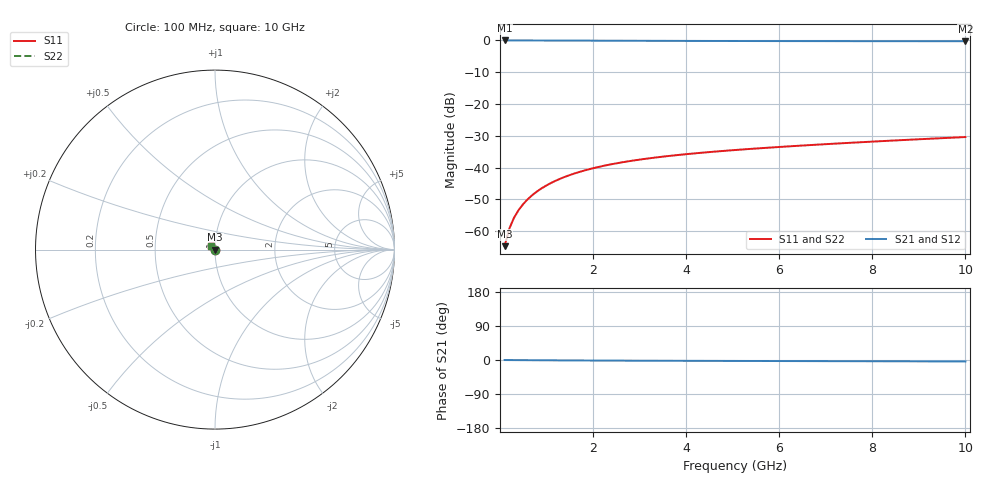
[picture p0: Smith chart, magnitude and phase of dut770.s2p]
! Touchstone file exported from HFSS 2024.1.0
!  File:  C:/UserFiles/LocalFiles/RDL_TSV_Batchsim/temp_TSV1_770_1779873332.aedt
!  Generated:  05:21:20 PM May 27, 2026
!  Design:  TSV1
!  Project:  temp_TSV1_770_1779873332
!  Setup:  Setup1
!  Solution:  Sweep
! Variables:
!  dtsv = 7.03um
!  hbump = 3um
!  htsv = 53.15um
!  lrdl = 252.1521522um
!  p = 40
!  p1 = 54.99um
!  t = 500um
!  trdl = 3um
!  wrdl = 24.89489489um
# GHz S MA R 50.000000
! Terminal data exported
! Port[1] = TSV22_T1
! Port[2] = TSV22_T2
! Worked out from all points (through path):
!   100 points, 100 MHz to 10 GHz, reference 50 ohm
!   highest |S21| = 0.00 dB at 100 MHz (marker M1); lowest = -0.2 dB at 10 GHz (marker M2)
!   lowest |S11| = -64.7 dB at 100 MHz (marker M3), VSWR 1.00, Z = 50 - j0.0544 ohm
!   |S11| at or under -10 dB: start of sweep to end of sweep
!   |S22| runs from -64.7 to -30.4 dB; largest |S21 - S12| = 1.1e-15
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0.1  0.0005816 -69.3  0.9997 -0.1  0.9997 -0.1  0.0005816 -69.3
! Gamma 0 0 0 0
! Port Impedance 50 0 50 0
0.2  0.001093 -82.9  0.9997 -0.2  0.9997 -0.2  0.001093 -82.9
0.3  0.001618 -89.4  0.9995 -0.2  0.9995 -0.2  0.001618 -89.4
0.4  0.002147 -93.9  0.9994 -0.3  0.9994 -0.3  0.002147 -93.9
0.5  0.002675 -97.6  0.9991 -0.4  0.9991 -0.4  0.002675 -97.6
0.6  0.0032 -100.8  0.9989 -0.5  0.9989 -0.5  0.0032 -100.8
0.7  0.003722 -103.7  0.9986 -0.6  0.9986 -0.6  0.003722 -103.7
0.8  0.004238 -106.5  0.9982 -0.6  0.9982 -0.6  0.004238 -106.5
0.9  0.004748 -109.1  0.9979 -0.7  0.9979 -0.7  0.004748 -109.1
1.1  0.005746 -114.2  0.9971 -0.8  0.9971 -0.8  0.005746 -114.2
1.4  0.007177 -121.2  0.9957 -1.0  0.9957 -1.0  0.007177 -121.2
1.6  0.008083 -125.6  0.9947 -1.2  0.9947 -1.2  0.008083 -125.6
1.8  0.008949 -129.9  0.9936 -1.3  0.9936 -1.3  0.008949 -129.9
2.1  0.01017 -136.0  0.992 -1.4  0.992 -1.4  0.01017 -136.0
2.5  0.01167 -143.5  0.9899 -1.6  0.9899 -1.6  0.01167 -143.5
2.9  0.01304 -150.5  0.9879 -1.8  0.9879 -1.8  0.01304 -150.5
3.4  0.01459 -158.4  0.9856 -2.0  0.9856 -2.0  0.01459 -158.4
4.2  0.01679 -169.5  0.9824 -2.2  0.9824 -2.2  0.01679 -169.5
5.1  0.01902 179.9  0.9796 -2.5  0.9796 -2.5  0.01902 179.9
6.7  0.0227 165.0  0.9762 -2.9  0.9762 -2.9  0.0227 165.0
8.4  0.02655 153.0  0.9738 -3.4  0.9738 -3.4  0.02655 153.0
10  0.03025 144.2  0.9723 -3.9  0.9723 -3.9  0.03025 144.2
